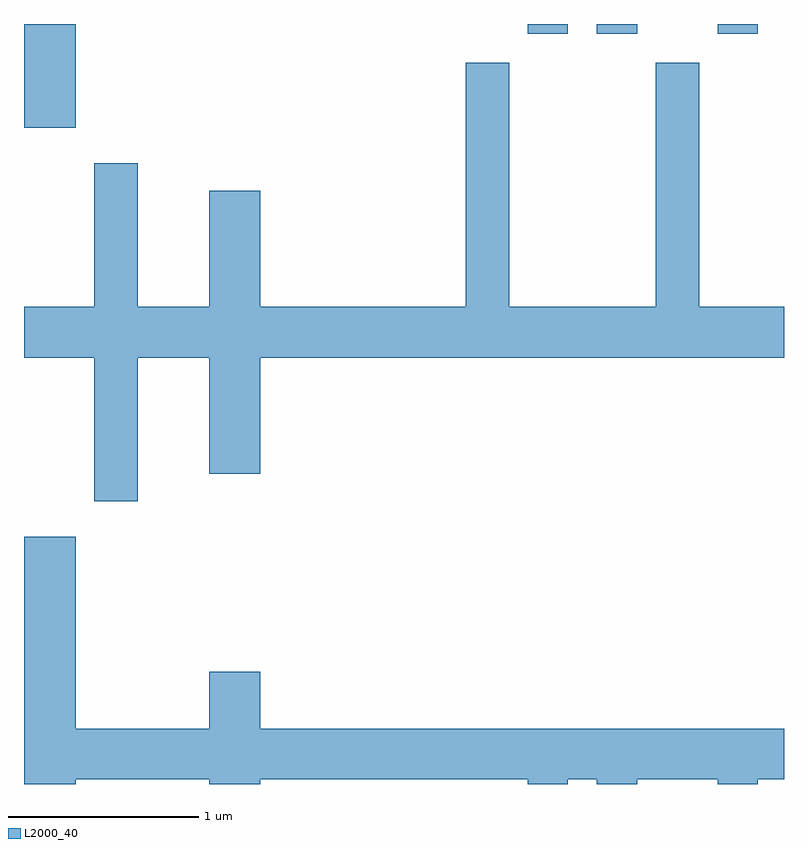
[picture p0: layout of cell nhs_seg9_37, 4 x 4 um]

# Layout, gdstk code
import gdstk
lib = gdstk.Library(unit=1e-6, precision=1e-09)
def R(c, l, rs):  # rectangles x0, y0, x1, y1
    for r in rs: c.add(gdstk.rectangle(r[:2], r[2:], *l))
def P(c, l, *ps):  # polygons
    for p in ps: c.add(gdstk.Polygon(p, *l))
L2000_40 = (2000, 40)

nhs_seg9_37 = lib.new_cell('nhs_seg9_37')
R(nhs_seg9_37, L2000_40, [(185.611,2021.886,185.884,2022.432), (188.261,2022.381,188.474,2022.432), (188.626,2022.381,188.839,2022.432), (189.261,2022.381,189.474,2022.432)])
P(nhs_seg9_37, L2000_40, [(186.209,2020.676),(186.586,2020.676),(186.586,2020.066),(186.854,2020.066),(186.854,2020.676),(189.611,2020.676),(189.611,2020.944),(189.164,2020.944),(189.164,2022.229),(188.936,2022.229),(188.936,2020.944),(188.164,2020.944),(188.164,2022.229),(187.936,2022.229),(187.936,2020.944),(186.854,2020.944),(186.854,2021.554),(186.586,2021.554),(186.586,2020.944),(186.209,2020.944),(186.209,2021.699),(185.981,2021.699),(185.981,2020.944),(185.611,2020.944),(185.611,2020.676),(185.981,2020.676),(185.981,2019.921),(186.209,2019.921)],
  [(185.884,2018.456),(186.586,2018.456),(186.586,2018.432),(186.854,2018.432),(186.854,2018.456),(188.261,2018.456),(188.261,2018.432),(188.474,2018.432),(188.474,2018.456),(188.626,2018.456),(188.626,2018.432),(188.839,2018.432),(188.839,2018.456),(189.261,2018.456),(189.261,2018.432),(189.474,2018.432),(189.474,2018.456),(189.611,2018.456),(189.611,2018.724),(186.854,2018.724),(186.854,2019.024),(186.586,2019.024),(186.586,2018.724),(185.884,2018.724),(185.884,2019.734),(185.611,2019.734),(185.611,2018.432),(185.884,2018.432)])

lib.write_gds('nhs_seg9_37.gds')
